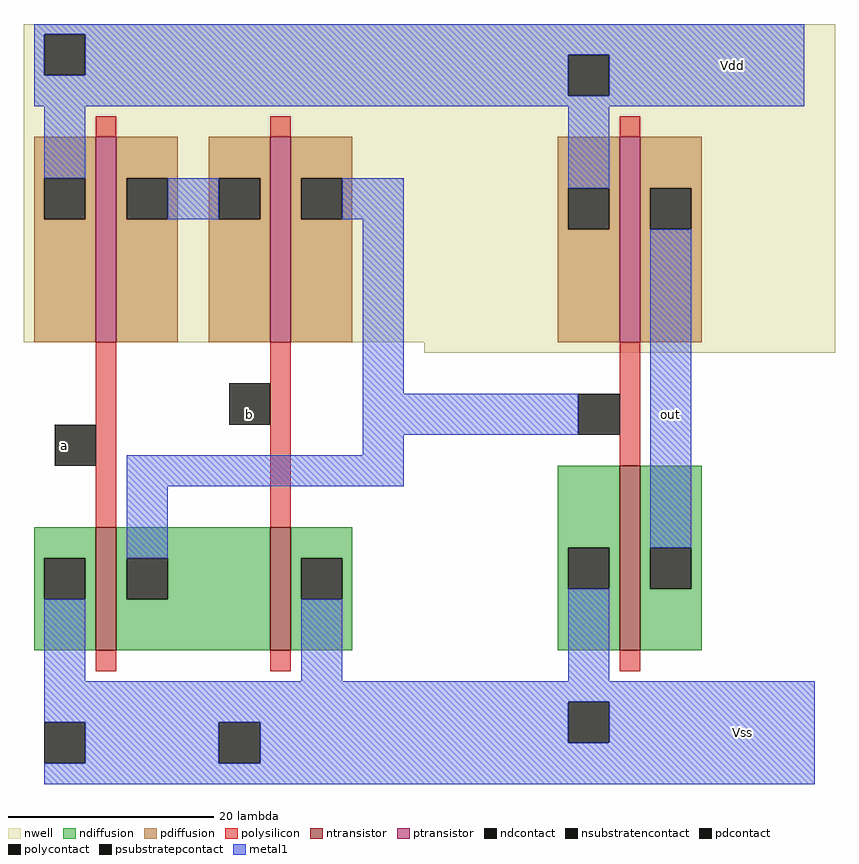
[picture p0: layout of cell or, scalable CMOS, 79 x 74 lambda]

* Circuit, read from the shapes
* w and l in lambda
.subckt or Vdd Vss a b out
M1 n1 a Vss Vss nfet w=12 l=2
M2 Vss b n1 Vss nfet w=12 l=2
M3 out n1 Vss Vss nfet w=18 l=2
M4 n2 a Vdd Vdd pfet w=20 l=2
M5 n1 b n2 Vdd pfet w=20 l=2
M6 out n1 Vdd Vdd pfet w=20 l=2
.ends

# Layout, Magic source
magic
tech scmos
<< nwell >>
rect 0 44 79 75
rect 39 43 79 44
<< polysilicon >>
rect 7 64 9 66
rect 24 64 26 66
rect 58 64 60 66
rect 7 26 9 44
rect 24 26 26 44
rect 58 32 60 44
rect 7 12 9 14
rect 24 12 26 14
rect 58 12 60 14
<< ndiffusion >>
rect 1 23 7 26
rect 1 19 2 23
rect 6 19 7 23
rect 1 14 7 19
rect 9 23 24 26
rect 9 19 10 23
rect 14 19 24 23
rect 9 14 24 19
rect 26 23 32 26
rect 26 19 27 23
rect 31 19 32 23
rect 26 14 32 19
rect 52 24 58 32
rect 52 20 53 24
rect 57 20 58 24
rect 52 14 58 20
rect 60 24 66 32
rect 60 20 61 24
rect 65 20 66 24
rect 60 14 66 20
<< pdiffusion >>
rect 1 60 7 64
rect 1 56 2 60
rect 6 56 7 60
rect 1 44 7 56
rect 9 60 15 64
rect 9 56 10 60
rect 14 56 15 60
rect 9 44 15 56
rect 18 60 24 64
rect 18 56 19 60
rect 23 56 24 60
rect 18 44 24 56
rect 26 60 32 64
rect 26 56 27 60
rect 31 56 32 60
rect 26 44 32 56
rect 52 59 58 64
rect 52 55 53 59
rect 57 55 58 59
rect 52 44 58 55
rect 60 59 66 64
rect 60 55 61 59
rect 65 55 66 59
rect 60 44 66 55
<< metal1 >>
rect 1 74 76 75
rect 1 70 2 74
rect 6 72 76 74
rect 6 70 53 72
rect 1 68 53 70
rect 57 68 76 72
rect 1 67 76 68
rect 2 60 6 67
rect 14 56 19 60
rect 31 56 37 60
rect 33 39 37 56
rect 53 59 57 67
rect 33 35 54 39
rect 33 33 37 35
rect 10 30 37 33
rect 10 23 14 30
rect 61 24 65 55
rect 2 11 6 19
rect 27 11 31 19
rect 53 11 57 20
rect 2 9 77 11
rect 2 7 53 9
rect 6 3 19 7
rect 23 5 53 7
rect 57 5 77 9
rect 23 3 77 5
rect 2 1 77 3
<< ntransistor >>
rect 7 14 9 26
rect 24 14 26 26
rect 58 14 60 32
<< ptransistor >>
rect 7 44 9 64
rect 24 44 26 64
rect 58 44 60 64
<< polycontact >>
rect 3 32 7 36
rect 20 36 24 40
rect 54 35 58 39
<< ndcontact >>
rect 2 19 6 23
rect 10 19 14 23
rect 27 19 31 23
rect 53 20 57 24
rect 61 20 65 24
<< pdcontact >>
rect 2 56 6 60
rect 10 56 14 60
rect 19 56 23 60
rect 27 56 31 60
rect 53 55 57 59
rect 61 55 65 59
<< psubstratepcontact >>
rect 2 3 6 7
rect 19 3 23 7
rect 53 5 57 9
<< nsubstratencontact >>
rect 2 70 6 74
rect 53 68 57 72
<< labels >>
rlabel metal1 63 37 63 37 1 out
rlabel metal1 69 71 69 71 5 Vdd
rlabel metal1 70 6 70 6 1 Vss
rlabel polycontact 4 34 4 34 3 a
rlabel polycontact 22 37 22 37 1 b
<< end >>
